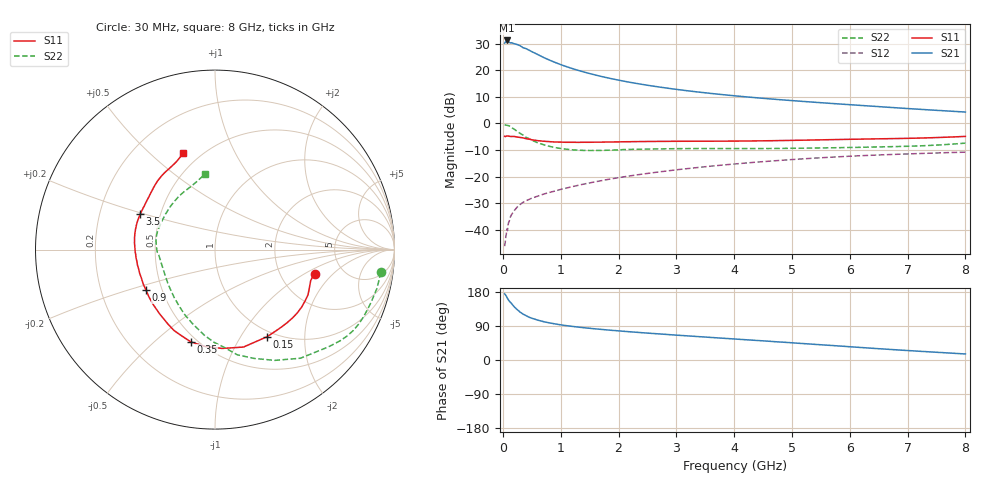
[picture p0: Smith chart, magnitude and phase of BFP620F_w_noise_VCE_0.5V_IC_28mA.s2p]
! Infineon Technologies  Discrete & RF Semiconductors
! BFP620F
! VCE =  0.5 V,  IC =  28 mA
! Common Emitter S-Parameters:  Dec 2014
# GHz  S  MA  R  50
!  f  S11  S21  S12  S22
! GHz  MAG  ANG  MAG  ANG  MAG  ANG  MAG  ANG
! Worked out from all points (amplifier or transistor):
!   95 points, 30 MHz to 8 GHz, reference 50 ohm
!   highest |S21| = 31.2 dB at 70 MHz (marker M1)
!   |S21| within 3 dB of that: start of sweep to 390 MHz
!   unconditionally stable (mu >= 1): 2.301 GHz to end of sweep
!   at 300 MHz: K = 0.32, MSG = 29.8 dB, |S12| = -30.5 dB
!   at 3.3 GHz: K = 1.03, MAG = 13.3 dB, |S12| = -16.8 dB
!   at 8 GHz: K = 1.07, MAG = 5.9 dB, |S12| = -10.9 dB
!   lowest NFmin = 1.08 dB at 450 MHz
!   S11 on the Smith chart (normalised r, x): 30 MHz: 3.12, -1.23; 150 MHz: 0.92, -1.31; 350 MHz: 0.46, -0.66; 900 MHz: 0.41, -0.23; 3.5 GHz: 0.38, +0.19; 8 GHz: 0.40, +0.64
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0.03  0.5706 -13.5  32.15 174.6  0.0049 79.9  0.9329 -7.8
0.06  0.5762 -25.9  35.67 168.4  0.0084 81.2  0.9219 -16.1
0.07  0.5778 -29.7  36.13 165.3  0.0103 77.0  0.9171 -19.0
0.09  0.5784 -37.9  35.26 159.9  0.0125 76.4  0.9079 -24.6
0.12  0.5687 -49.2  32.78 153.9  0.0157 73.0  0.8787 -33.3
0.15  0.5654 -59.2  32.78 148.8  0.0192 68.9  0.8319 -40.7
0.2  0.5657 -73.7  31.28 139.7  0.0231 65.2  0.7701 -51.8
0.25  0.5521 -85.9  30.24 132.7  0.0268 61.7  0.7016 -61.6
0.3  0.542 -96.1  28.72 126.1  0.0299 58.6  0.6452 -70.1
0.35  0.5313 -104.8  26.37 121.1  0.0327 56.9  0.5994 -78.0
0.45  0.5051 -116.9  23.81 113.1  0.0369 54.9  0.5171 -90.5
0.6  0.4728 -130.7  19.71 105.4  0.0426 53.9  0.4312 -106.9
0.7  0.4608 -138.3  17.38 101.3  0.0465 53.9  0.3976 -115.6
0.9  0.4454 -149.8  14 95.3  0.0533 54.9  0.3505 -130.4
1.4  0.4404 -168.7  9.232 85.2  0.0721 56.4  0.3095 -157.3
1.9  0.446 179.2  6.826 78.1  0.0913 56.1  0.3139 -173.8
2.7  0.4574 165.5  4.822 68.9  0.122 53.2  0.3302 173.0
3.5  0.4612 154.8  3.748 60.6  0.1526 49.0  0.3355 163.9
4.1  0.464 147.5  3.221 54.5  0.1753 45.1  0.3348 156.9
5.4  0.4869 134.6  2.486 41.2  0.222 35.5  0.3434 138.7
6.7  0.5149 121.5  1.991 27.9  0.2588 24.9  0.3636 119.6
8  0.5678 108.2  1.629 15.9  0.2867 14.7  0.4243 97.6
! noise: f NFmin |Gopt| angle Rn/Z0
0.45  1.08  0.03  -173  0.19
0.9  1.11  0.04  -171  0.15
1.5  1.12  0.08  -149  0.15
1.8  1.14  0.08  -147  0.17
1.9  1.14  0.08  -146  0.15
2.4  1.16  0.09  -146  0.17
3.5  1.23  0.12  -142  0.17
5.5  1.38  0.2  239  0.13
6  1.42  0.2  259  0.15
